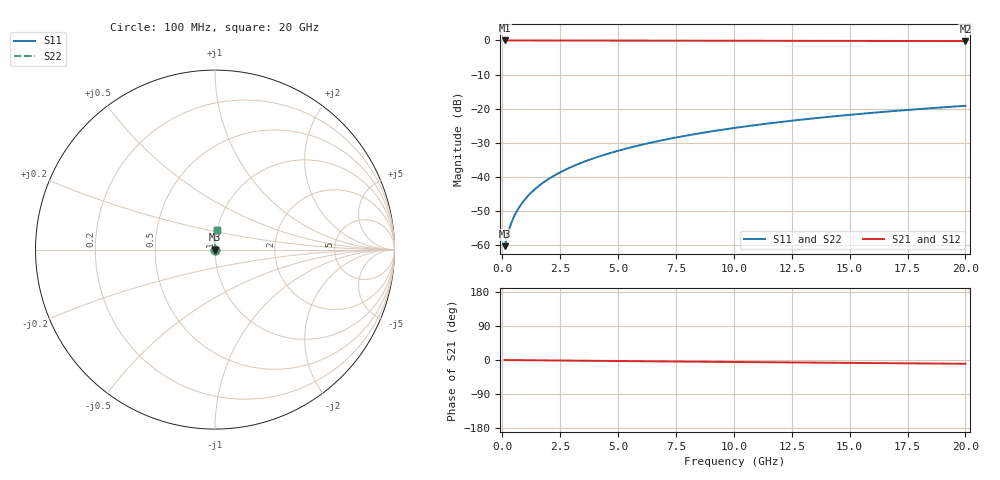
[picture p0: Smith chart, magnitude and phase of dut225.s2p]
! Touchstone file exported from HFSS 2024.1.0
!  File:  C:/UserFiles/LocalFiles/RDL_TSV_Batchsim/temp_RDL_top_225_1778687936.aedt
!  Generated:  12:01:22 AM May 14, 2026
!  Design:  RDL_top
!  Project:  temp_RDL_top_225_1778687936
!  Setup:  Setup1
!  Solution:  Sweep
! Variables:
!  dtsv = 10.80580581um
!  hbump = 3um
!  htsv = 90.78um
!  ldown = 100um
!  lrdl = 110.44um
!  p = 40
!  p1 = 49.56um
!  rhole = 1um
!  t = 450um
!  tdown = 3.915915916um
!  trdl = 2.9um
!  wdown = 15.38538539um
!  wrdl = 25.88um
# GHz S MA R 50.000000
! Terminal data exported
! Port[1] = Box2_T1
! Port[2] = Box2_T2
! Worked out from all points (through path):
!   200 points, 100 MHz to 20 GHz, reference 50 ohm
!   highest |S21| = -0.01 dB at 100 MHz (marker M1); lowest = -0.2 dB at 20 GHz (marker M2)
!   group delay of S21, straight-line fit = 1.36 ps
!   lowest |S11| = -60.2 dB at 100 MHz (marker M3), VSWR 1.00, Z = 50.1 + j0.0517 ohm
!   |S11| at or under -10 dB: start of sweep to end of sweep
!   |S22| runs from -60.2 to -19.1 dB; largest |S21 - S12| = 2.1e-15
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0.1  0.0009771 31.9  0.9992 -0.1  0.9992 -0.1  0.0009771 31.9
! Gamma 0 0 0 0
! Port Impedance 50 0 50 0
0.2  0.001331 50.0  0.9991 -0.1  0.9991 -0.1  0.001331 50.0
0.3  0.001749 59.5  0.9991 -0.2  0.9991 -0.2  0.001749 59.5
0.4  0.002181 65.2  0.999 -0.2  0.999 -0.2  0.002181 65.2
0.5  0.002617 69.0  0.999 -0.3  0.999 -0.3  0.002617 69.0
0.6  0.003054 71.8  0.9989 -0.3  0.9989 -0.3  0.003054 71.8
0.8  0.003932 75.8  0.9989 -0.5  0.9989 -0.5  0.003932 75.8
1.1  0.005268 79.7  0.9988 -0.6  0.9988 -0.6  0.005268 79.7
1.3  0.00617 81.5  0.9987 -0.7  0.9987 -0.7  0.00617 81.5
1.6  0.00754 83.5  0.9985 -0.9  0.9985 -0.9  0.00754 83.5
2.1  0.009865 85.8  0.9982 -1.2  0.9982 -1.2  0.009865 85.8
2.7  0.01272 87.6  0.9978 -1.5  0.9978 -1.5  0.01272 87.6
3.5  0.01664 89.2  0.997 -2.0  0.997 -2.0  0.01664 89.2
4.2  0.02017 90.1  0.9963 -2.3  0.9963 -2.3  0.02017 90.1
5  0.02432 90.8  0.9954 -2.8  0.9954 -2.8  0.02432 90.8
5.9  0.02913 91.2  0.9943 -3.2  0.9943 -3.2  0.02913 91.2
6.8  0.03407 91.4  0.9932 -3.7  0.9932 -3.7  0.03407 91.4
8.4  0.04308 91.2  0.9912 -4.5  0.9912 -4.5  0.04308 91.2
10.1  0.05287 90.6  0.9891 -5.3  0.9891 -5.3  0.05287 90.6
13.4  0.07217 88.8  0.9853 -6.9  0.9853 -6.9  0.07217 88.8
16.7  0.09149 86.8  0.9818 -8.4  0.9818 -8.4  0.09149 86.8
20  0.1106 84.8  0.9784 -9.9  0.9784 -9.9  0.1106 84.8
